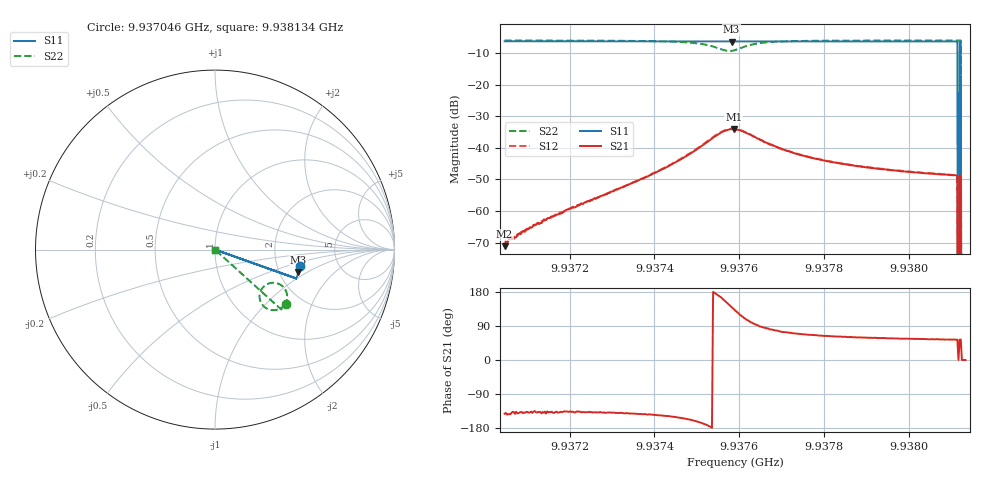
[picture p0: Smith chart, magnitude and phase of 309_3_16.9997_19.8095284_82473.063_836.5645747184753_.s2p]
#  HZ  S  RI  R  50.00
! Rohde & Schwarz Vector Network Analyzer
! Rohde-Schwarz,ZNB20-2Port,1311601062101988,3.16
! Created: UTC 3/20/2024, 11:05:56 PM
! freq[Hz]  re:S11  im:S11  re:S21  im:S21  re:S12  im:S12  re:S22  im:S22
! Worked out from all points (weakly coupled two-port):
!   401 points, 9.937046 GHz to 9.938134 GHz, reference 50 ohm
!   highest |S21| = -34.07 dB at 9.937587 GHz (marker M1); lowest = -71.1 dB at 9.937046 GHz (marker M2)
!   lowest |S11| = -6.4 dB at 9.937582 GHz (marker M3), VSWR 2.85, Z = 127 - j41.3 ohm
!   |S11| at or under -10 dB: 9.938115 GHz to 9.93812 GHz (5.336 kHz wide, 5.37e-05 % of centre); 9.938123 GHz to end of sweep
!   |S22| runs from - to -6.0 dB; largest |S21 - S12| = 0.00088
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9.9370463e9  0.4758 -0.0908  -0.000219 -0.000173  -0.000233 -0.000203  0.3962 -0.3022
9.9370544e9  0.4758 -0.0916  -0.000265 -0.000199  -0.000281 -0.000197  0.3959 -0.3029
9.9371197e9  0.4746 -0.0958  -0.00045 -0.000412  -0.000452 -0.000395  0.3911 -0.3076
9.9372285e9  0.4724 -0.1032  -0.000974 -0.000868  -0.000977 -0.000887  0.3814 -0.3162
9.9374106e9  0.4688 -0.1154  -0.00359 -0.00243  -0.0037 -0.00242  0.35 -0.334
9.9374704e9  0.4671 -0.1196  -0.00639 -0.00307  -0.00656 -0.00301  0.3235 -0.3377
9.9375194e9  0.4655 -0.1229  -0.0115 -0.00209  -0.0118 -0.00188  0.2815 -0.3245
9.9375574e9  0.4638 -0.1248  -0.0169 0.00451  -0.017 0.00512  0.2483 -0.264
9.9375819e9  0.4632 -0.1253  -0.0151 0.0126  -0.0149 0.0135  0.2747 -0.2032
9.9375873e9  0.4634 -0.1254  -0.0137 0.0143  -0.0135 0.015  0.2876 -0.1941
9.9375901e9  0.4635 -0.1255  -0.0129 0.0149  -0.0127 0.0153  0.2946 -0.1906
9.9376472e9  0.4636 -0.1291  0.000144 0.0137  0.000424 0.0137  0.3919 -0.2238
9.937707e9  0.4627 -0.1335  0.00262 0.00887  0.00282 0.00893  0.402 -0.268
9.9377722e9  0.4613 -0.1381  0.00281 0.00634  0.00297 0.0063  0.3966 -0.2914
9.9379544e9  0.4569 -0.1501  0.00243 0.00375  0.00252 0.00373  0.3806 -0.3197
9.9381094e9  0.4529 -0.1602  0.0022 0.00297  0.00227 0.00296  0.3698 -0.3326
9.9381121e9  0.4528 -0.1603  0.00218 0.00296  0.00224 0.00294  0.3695 -0.3327
9.9381175e9  0 0  0 0  0 0  0.3691 -0.3332
9.9381229e9  0.4525 -0.161  0.00215 0.00296  0.00224 0.0029  0.3687 -0.3334
9.9381257e9  0 0  0 0  0 0  0 0
9.9381311e9  0 0  0 0  0 0  0 0
9.9381338e9  0 0  0 0  0 0  0 0
